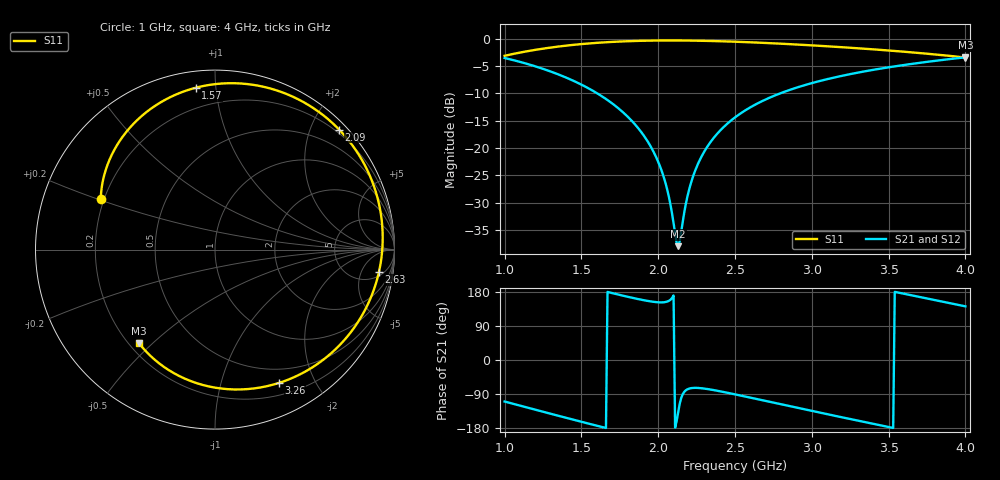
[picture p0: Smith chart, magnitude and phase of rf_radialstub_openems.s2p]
! kicad2ems openEMS FDTD (rf_radialstub); not computed (written as 0): S(P2,P2)
! ports: 1=P1, 2=P2
# Hz S RI R 50
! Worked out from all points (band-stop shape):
!   301 points, 1 GHz to 4 GHz, reference 50 ohm
!   highest |S21| = -3.42 dB at 4 GHz (marker M1); lowest = -37.9 dB at 2.13 GHz (marker M2)
!   |S21| within 3 dB of the highest: start of sweep to 1.339 GHz; 3.262 GHz to end of sweep
!   lowest |S11| = -3.5 dB at 4 GHz (marker M3), VSWR 5.09, Z = 11.9 - j22.7 ohm
!   |S11| at or under -10 dB: nowhere
!   |S22| runs from - to - dB; largest |S21 - S12| = 0
!   S11 on the Smith chart (normalised r, x): 1 GHz: 0.19, +0.20; 1.57 GHz: 0.09, +0.89; 2.09 GHz: 0.14, +2.47; 2.63 GHz: 7, -11; 3.26 GHz: 0.33, -1.53; 4 GHz: 0.24, -0.45
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1e9  -0.6367 0.2826  -0.2231 -0.6268  -0.2231 -0.6268  0 0
1.24e9  -0.5294 0.6076  -0.3818 -0.3753  -0.3818 -0.3753  0 0
1.5e9  -0.2155 0.8648  -0.3634 -0.1109  -0.3634 -0.1109  0 0
1.57e9  -0.1066 0.902  -0.3319 -0.0569  -0.3319 -0.0569  0 0
1.83e9  0.3237 0.8932  -0.1695 0.0479  -0.1695 0.0479  0 0
1.93e9  0.4794 0.8293  -0.1059 0.0472  -0.1059 0.0472  0 0
2e9  0.5789 0.7669  -0.0663 0.0349  -0.0663 0.0349  0 0
2.05e9  0.644 0.7145  -0.0416 0.021  -0.0416 0.021  0 0
2.09e9  0.6919 0.6684  -0.0243 0.00723  -0.0243 0.00723  0 0
2.12e9  0.7254 0.6316  -0.0129 -0.0044  -0.0129 -0.0044  0 0
2.13e9  0.736 0.6189  -0.00945 -0.0085  -0.00945 -0.0085  0 0
2.19e9  0.7943 0.5393  0.00789 -0.0351  0.00789 -0.0351  0 0
2.26e9  0.8499 0.4398  0.0203 -0.0694  0.0203 -0.0694  0 0
2.36e9  0.9051 0.2893  0.0229 -0.1212  0.0229 -0.1212  0 0
2.5e9  0.9343 0.0724  -0.00216 -0.1907  -0.00216 -0.1907  0 0
2.63e9  0.9136 -0.1238  -0.0516 -0.2434  -0.0516 -0.2434  0 0
2.81e9  0.818 -0.3687  -0.1503 -0.2852  -0.1503 -0.2852  0 0
3e9  0.6508 -0.5742  -0.2743 -0.2804  -0.2743 -0.2804  0 0
3.26e9  0.3545 -0.7435  -0.438 -0.1892  -0.438 -0.1892  0 0
3.5e9  0.0604 -0.7767  -0.5461 -0.0301  -0.5461 -0.0301  0 0
3.76e9  -0.2269 -0.6897  -0.5841 0.1955  -0.5841 0.1955  0 0
4e9  -0.4233 -0.5215  -0.5286 0.4194  -0.5286 0.4194  0 0
